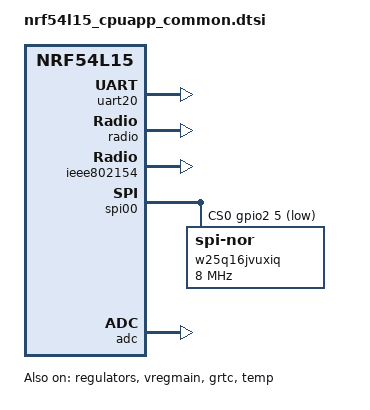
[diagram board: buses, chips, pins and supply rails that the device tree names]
/*
 * Copyright (c) 2024 Nordic Semiconductor ASA
 *
 * SPDX-License-Identifier: Apache-2.0
 */

/* This file is common to the secure and non-secure domain */

#include "royalblue54l_common.dtsi"
#include <mem.h>

/ {
	chosen {
		zephyr,console = &uart20;
		zephyr,shell-uart = &uart20;
		zephyr,uart-mcumgr = &uart20;
		zephyr,bt-mon-uart = &uart20;
		zephyr,bt-c2h-uart = &uart20;
		zephyr,flash-controller = &rram_controller;
		zephyr,flash = &cpuapp_rram;
		zephyr,ieee802154 = &ieee802154;
	};
};

&cpuapp_sram {
	status = "okay";
};

&lfxo {
	load-capacitors = "internal";
	load-capacitance-femtofarad = <17000>;
};

&hfxo {
	load-capacitors = "internal";
	load-capacitance-femtofarad = <17000>;
};

&regulators {
	status = "okay";
};

&vregmain {
	status = "okay";
	regulator-initial-mode = <NRF5X_REG_MODE_DCDC>;
};

&grtc {
	owned-channels = <0 1 2 3 4 5 6 7 8 9 10 11>;
	/* Channels 7-11 reserved for Zero Latency IRQs, 3-4 for FLPR */
	child-owned-channels = <3 4 7 8 9 10 11>;
	status = "okay";
};

&uart20 {
	status = "okay";
};

&gpio0 {
	status = "okay";
};

&gpio1 {
	status = "okay";
};

&gpio2 {
	status = "okay";
};
&gpiote20 {
	status = "okay";
};

&gpiote30 {
	status = "okay";
};

&radio {
	status = "okay";
};

&ieee802154 {
	status = "okay";
};

&temp {
	status = "okay";
};

&clock {
	status = "okay";
};

&spi00 {
	status = "okay";
	cs-gpios = <&gpio2 5 GPIO_ACTIVE_LOW>;
	pinctrl-0 = <&spi00_default>;
	pinctrl-1 = <&spi00_sleep>;
	pinctrl-names = "default", "sleep";

	w25q16jvuxiq: w25q16jvuxiq@0 {
		compatible = "jedec,spi-nor";
		status = "okay";
		reg = <0>;
		spi-max-frequency = <8000000>;
		jedec-id = [ef 40 15];
		sfdp-bfp = [
			e5 20 f9 ff  ff ff ff 00  44 eb 08 6b  08 3b 42 bb
			fe ff ff ff  ff ff 00 00  ff ff 40 eb  0c 20 0f 52
			10 d8 00 00  36 02 a6 00  82 ea 14 b3  e9 63 76 33
			7a 75 7a 75  f7 a2 d5 5c  19 f7 4d ff  e9 30 f8 80
		];
		size = <DT_SIZE_M(2 * 8)>;
		t-enter-dpd = <10000>;
		t-exit-dpd = <35000>;
	};
};

&adc {
	status = "okay";
};
